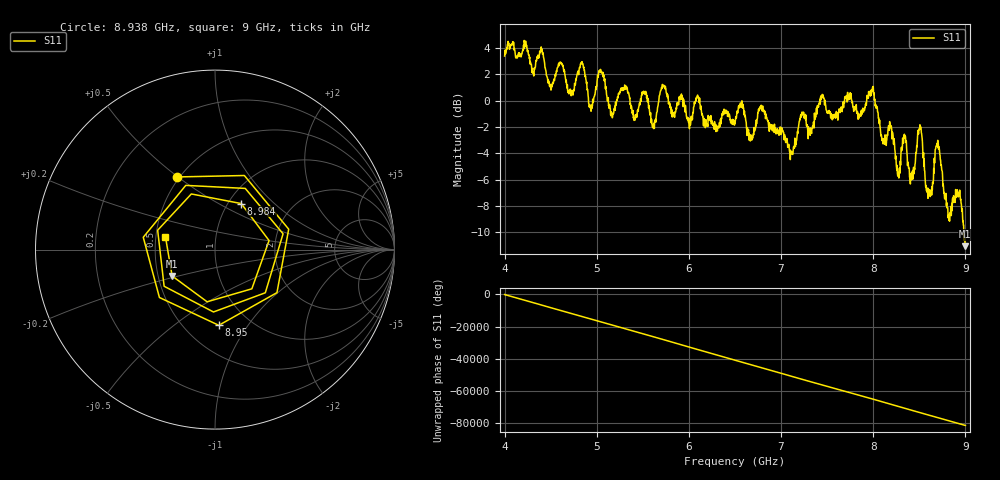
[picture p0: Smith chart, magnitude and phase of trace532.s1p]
! Created with skrf 1.8.0 (http://scikit-rf.org).
# Hz S RI R 50.0
!freq ReS11 ImS11
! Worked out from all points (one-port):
!   1601 points, 4 GHz to 9 GHz, reference 50 ohm
!   lowest |S11| = -11.0 dB at 8.997 GHz (marker M1), VSWR 1.78, Z = 29.6 - j9.44 ohm
!   |S11| at or under -10 dB: 8.982439 GHz to end of sweep
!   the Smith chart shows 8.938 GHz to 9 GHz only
!   S11 on the Smith chart (normalised r, x): 8.938 GHz: 0.48, +0.49; 8.95 GHz: 0.72, -0.74; 8.984 GHz: 1.15, +0.65; 9 GHz: 0.56, +0.09
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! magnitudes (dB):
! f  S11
! 4 GHz  3.4
! 4.625 GHz  2.7
! 4.719 GHz  0.8
! 4.844 GHz  2.8
! 4.938 GHz  -0.8
! 5.044 GHz  2.2
! 5.159 GHz  -0.9
! 5.25 GHz  0.7
! 5.875 GHz  -0.1
! 6.5 GHz  -1.7
! 6.675 GHz  -3.0
! 6.791 GHz  -0.6
! 7.125 GHz  -4.1
! 7.222 GHz  -1.0
! 7.75 GHz  0.6
! 7.984 GHz  0.7
! 8.266 GHz  -5.7
! 8.375 GHz  -4.6
! 8.425 GHz  -5.5
! 8.506 GHz  -1.8
! 8.594 GHz  -7.4
! 8.697 GHz  -3.3
! 8.819 GHz  -8.6
! 8.938 GHz  -6.8
! 8.95 GHz  -7.5
! 8.984 GHz  -10.6
! 8.997 GHz  -11.0
! 9 GHz  -10.9
